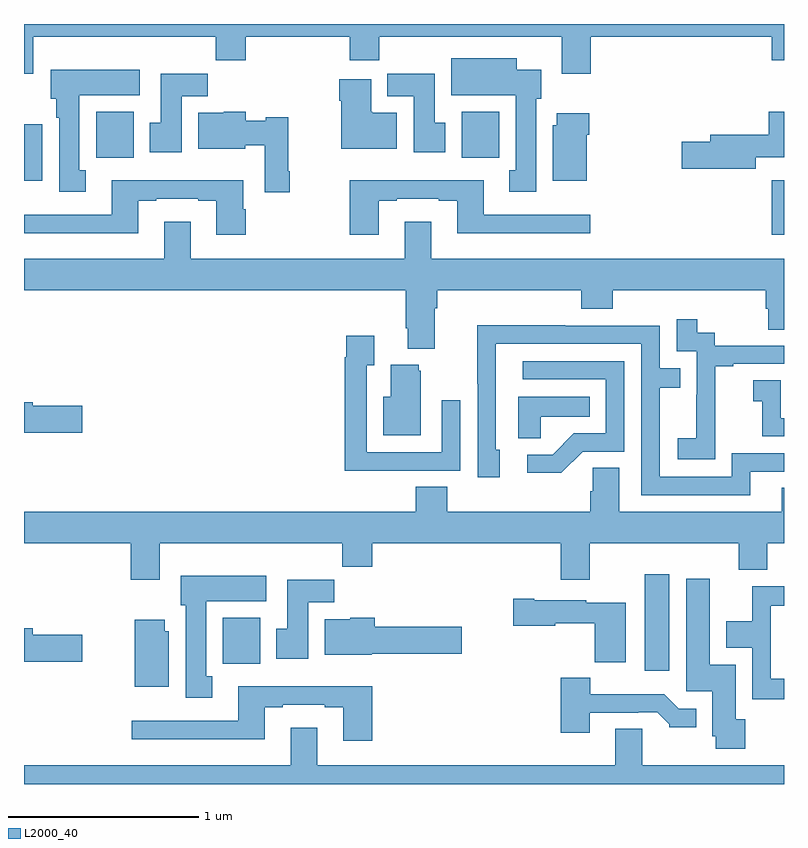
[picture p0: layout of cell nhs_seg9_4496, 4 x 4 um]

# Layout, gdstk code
import gdstk
lib = gdstk.Library(unit=1e-6, precision=1e-09)
def R(c, l, rs):  # rectangles x0, y0, x1, y1
    for r in rs: c.add(gdstk.rectangle(r[:2], r[2:], *l))
def P(c, l, *ps):  # polygons
    for p in ps: c.add(gdstk.Polygon(p, *l))
L2000_40 = (2000, 40)

nhs_seg9_4496 = lib.new_cell('nhs_seg9_4496')
R(nhs_seg9_4496, L2000_40, [(372.266,1181.097,372.397,1181.605), (370.046,1181.132,370.243,1181.374), (372.935,1183.392,373,1183.678), (369,1183.676,369.097,1183.972), (369.38,1183.796,369.577,1184.038), (371.303,1183.796,371.5,1184.038)])
P(nhs_seg9_4496, L2000_40, [(369.049,1184.432),(370.009,1184.432),(370.009,1184.308),(370.166,1184.308),(370.166,1184.432),(370.715,1184.432),(370.715,1184.308),(370.871,1184.308),(370.871,1184.432),(371.831,1184.432),(371.831,1184.238),(371.984,1184.238),(371.984,1184.432),(372.935,1184.432),(372.935,1184.308),(373,1184.308),(373,1184.5),(369,1184.5),(369,1184.238),(369.049,1184.238)],
  [(371.695,1184.106),(371.722,1184.106),(371.722,1184.26),(371.593,1184.26),(371.593,1184.32),(371.249,1184.32),(371.249,1184.126),(371.588,1184.126),(371.588,1183.73),(371.555,1183.73),(371.555,1183.617),(371.695,1183.617)],
  [(369.325,1183.73),(369.292,1183.73),(369.292,1184.126),(369.61,1184.126),(369.61,1184.26),(369.14,1184.26),(369.14,1184.106),(369.17,1184.106),(369.17,1184.006),(369.185,1184.006),(369.185,1183.617),(369.325,1183.617)],
  [(369.829,1184.12),(369.968,1184.12),(369.968,1184.239),(369.719,1184.239),(369.719,1183.98),(369.662,1183.98),(369.662,1183.824),(369.829,1183.824)],
  [(371.218,1183.98),(371.161,1183.98),(371.161,1184.238),(370.913,1184.238),(370.913,1184.12),(371.051,1184.12),(371.051,1183.824),(371.218,1183.824)],
  [(370.963,1184.032),(370.834,1184.032),(370.834,1184.038),(370.828,1184.038),(370.828,1184.209),(370.658,1184.209),(370.658,1184.096),(370.67,1184.096),(370.67,1183.844),(370.963,1183.844)],
  [(372.85,1183.8),(373,1183.8),(373,1184.038),(372.92,1184.038),(372.92,1183.916),(372.611,1183.916),(372.611,1183.88),(372.462,1183.88),(372.462,1183.738),(372.85,1183.738)],
  [(370.398,1183.726),(370.39,1183.726),(370.39,1184.01),(370.272,1184.01),(370.272,1183.992),(370.168,1183.992),(370.168,1184.038),(370.05,1184.038),(370.05,1184.032),(369.917,1184.032),(369.917,1183.844),(370.164,1183.844),(370.164,1183.862),(370.268,1183.862),(370.268,1183.614),(370.398,1183.614)],
  [(371.962,1183.916),(371.975,1183.916),(371.975,1184.029),(371.804,1184.029),(371.804,1183.968),(371.783,1183.968),(371.783,1183.676),(371.962,1183.676)],
  [(370.166,1183.526),(370.153,1183.526),(370.153,1183.678),(369.461,1183.678),(369.461,1183.497),(369,1183.497),(369,1183.4),(369.601,1183.4),(369.601,1183.569),(369.697,1183.569),(369.697,1183.581),(369.917,1183.581),(369.917,1183.569),(370.013,1183.569),(370.013,1183.392),(370.166,1183.392)],
  [(370.867,1183.569),(370.963,1183.569),(370.963,1183.581),(371.183,1183.581),(371.183,1183.569),(371.279,1183.569),(371.279,1183.4),(371.98,1183.4),(371.98,1183.497),(371.419,1183.497),(371.419,1183.678),(370.715,1183.678),(370.715,1183.392),(370.867,1183.392)],
  [(371.161,1183.004),(371.174,1183.004),(371.174,1183.1),(371.933,1183.1),(371.933,1183.001),(372.098,1183.001),(372.098,1183.1),(372.905,1183.1),(372.905,1183.002),(372.917,1183.002),(372.917,1182.892),(373,1182.892),(373,1183.264),(371.143,1183.264),(371.143,1183.459),(371.003,1183.459),(371.003,1183.264),(369.877,1183.264),(369.877,1183.459),(369.737,1183.459),(369.737,1183.264),(369,1183.264),(369,1183.1),(371.009,1183.1),(371.009,1182.898),(371.021,1182.898),(371.021,1182.791),(371.161,1182.791)],
  [(372.639,1182.415),(372.638,1182.415),(372.638,1182.699),(372.733,1182.699),(372.733,1182.711),(373,1182.711),(373,1182.807),(372.636,1182.807),(372.636,1182.876),(372.544,1182.876),(372.544,1182.946),(372.435,1182.946),(372.435,1182.777),(372.54,1182.777),(372.54,1182.548),(372.539,1182.548),(372.539,1182.319),(372.441,1182.319),(372.441,1182.209),(372.639,1182.209)],
  [(372.823,1182.144),(373,1182.144),(373,1182.24),(372.726,1182.24),(372.726,1182.117),(372.345,1182.117),(372.345,1182.586),(372.455,1182.586),(372.455,1182.687),(372.345,1182.687),(372.345,1182.912),(371.849,1182.912),(371.849,1182.914),(371.386,1182.914),(371.386,1182.607),(371.388,1182.607),(371.388,1182.114),(371.503,1182.114),(371.503,1182.258),(371.484,1182.258),(371.484,1182.816),(372.249,1182.816),(372.249,1182.021),(372.823,1182.021)],
  [(370.979,1182.15),(371.295,1182.15),(371.295,1182.52),(371.199,1182.52),(371.199,1182.246),(370.803,1182.246),(370.803,1182.703),(370.843,1182.703),(370.843,1182.859),(370.695,1182.859),(370.695,1182.746),(370.687,1182.746),(370.687,1182.149),(370.979,1182.149)],
  [(371.94,1182.249),(372.159,1182.249),(372.159,1182.726),(371.625,1182.726),(371.625,1182.63),(372.063,1182.63),(372.063,1182.345),(371.894,1182.345),(371.783,1182.234),(371.649,1182.234),(371.649,1182.137),(371.827,1182.137)],
  [(371.089,1182.675),(371.078,1182.675),(371.078,1182.706),(370.931,1182.706),(370.931,1182.538),(370.892,1182.538),(370.892,1182.335),(371.089,1182.335)],
  [(373,1182.426),(372.984,1182.426),(372.984,1182.625),(372.837,1182.625),(372.837,1182.515),(372.886,1182.515),(372.886,1182.33),(373,1182.33)],
  [(371.721,1182.434),(371.978,1182.434),(371.978,1182.538),(371.6,1182.538),(371.6,1182.319),(371.721,1182.319)],
  [(369.307,1182.491),(369.046,1182.491),(369.046,1182.509),(369,1182.509),(369,1182.349),(369.307,1182.349)],
  [(369.715,1181.768),(370.675,1181.768),(370.675,1181.644),(370.832,1181.644),(370.832,1181.768),(371.825,1181.768),(371.825,1181.574),(371.977,1181.574),(371.977,1181.768),(372.761,1181.768),(372.761,1181.627),(372.913,1181.627),(372.913,1181.768),(373,1181.768),(373,1182.059),(372.989,1182.059),(372.989,1181.932),(372.133,1181.932),(372.133,1182.164),(371.994,1182.164),(371.994,1182.041),(371.981,1182.041),(371.981,1181.932),(371.228,1181.932),(371.228,1182.065),(371.063,1182.065),(371.063,1181.932),(369,1181.932),(369,1181.768),(369.563,1181.768),(369.563,1181.574),(369.715,1181.574)],
  [(369.991,1181.066),(369.958,1181.066),(369.958,1181.462),(370.276,1181.462),(370.276,1181.596),(369.824,1181.596),(369.824,1181.442),(369.851,1181.442),(369.851,1180.953),(369.991,1180.953)],
  [(372.797,1180.842),(372.745,1180.842),(372.745,1181.128),(372.61,1181.128),(372.61,1181.581),(372.485,1181.581),(372.485,1180.989),(372.623,1180.989),(372.623,1180.752),(372.64,1180.752),(372.64,1180.686),(372.797,1180.686)],
  [(370.495,1181.456),(370.634,1181.456),(370.634,1181.575),(370.385,1181.575),(370.385,1181.316),(370.328,1181.316),(370.328,1181.16),(370.495,1181.16)],
  [(373,1181.055),(372.93,1181.055),(372.93,1181.438),(373,1181.438),(373,1181.542),(372.832,1181.542),(372.832,1181.356),(372.695,1181.356),(372.695,1181.216),(372.834,1181.216),(372.834,1180.947),(373,1180.947)],
  [(372.166,1181.455),(371.958,1181.455),(371.958,1181.467),(371.686,1181.467),(371.686,1181.475),(371.574,1181.475),(371.574,1181.333),(371.796,1181.333),(371.796,1181.345),(372.004,1181.345),(372.004,1181.141),(372.166,1181.141)],
  [(370.83,1181.186),(371.305,1181.186),(371.305,1181.328),(370.847,1181.328),(370.847,1181.374),(370.716,1181.374),(370.716,1181.368),(370.583,1181.368),(370.583,1181.18),(370.83,1181.18)],
  [(369.763,1181.304),(369.742,1181.304),(369.742,1181.365),(369.584,1181.365),(369.584,1181.012),(369.763,1181.012)],
  [(369.307,1181.286),(369.046,1181.286),(369.046,1181.32),(369,1181.32),(369,1181.144),(369.307,1181.144)],
  [(371.977,1180.875),(372.233,1180.875),(372.233,1180.878),(372.332,1180.878),(372.396,1180.814),(372.396,1180.799),(372.538,1180.799),(372.538,1180.896),(372.447,1180.896),(372.371,1180.972),(371.98,1180.972),(371.98,1181.059),(371.825,1181.059),(371.825,1180.77),(371.977,1180.77)],
  [(370.832,1181.014),(370.127,1181.014),(370.127,1180.833),(369.567,1180.833),(369.567,1180.736),(370.267,1180.736),(370.267,1180.905),(370.363,1180.905),(370.363,1180.917),(370.583,1180.917),(370.583,1180.905),(370.679,1180.905),(370.679,1180.728),(370.832,1180.728)],
  [(373,1180.6),(372.253,1180.6),(372.253,1180.79),(372.113,1180.79),(372.113,1180.6),(370.543,1180.6),(370.543,1180.795),(370.403,1180.795),(370.403,1180.6),(369,1180.6),(369,1180.5),(373,1180.5)])

lib.write_gds('nhs_seg9_4496.gds')
